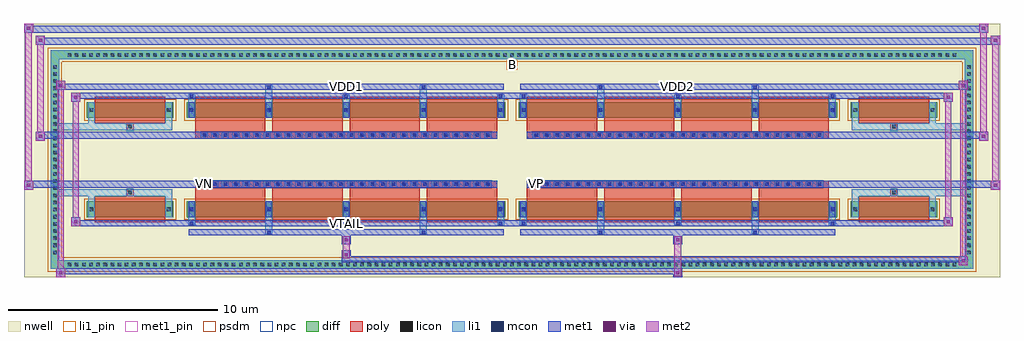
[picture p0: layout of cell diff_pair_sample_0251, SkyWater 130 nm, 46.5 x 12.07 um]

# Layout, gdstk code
import gdstk
lib = gdstk.Library(unit=1e-6, precision=5e-09)
def R(c, l, rs):  # rectangles x0, y0, x1, y1
    for r in rs: c.add(gdstk.rectangle(r[:2], r[2:], *l))
def A(c, l, x, y, w, h, nx, ny, dx, dy):  # array of equal rectangles
    R(c, l, [(x+i*dx, y+j*dy, x+i*dx+w, y+j*dy+h) for i in range(nx) for j in range(ny)])
def P(c, l, *ps):  # polygons
    for p in ps: c.add(gdstk.Polygon(p, *l))
nwell = (64, 20)
diff = (65, 20)
poly = (66, 20)
licon = (66, 44)
li1_pin = (67, 16)
li1 = (67, 20)
mcon = (67, 44)
met1_pin = (68, 16)
met1 = (68, 20)
via = (68, 44)
met2 = (69, 20)
psdm = (94, 20)
npc = (95, 20)

diff_pair_sample_0251 = lib.new_cell('diff_pair_sample_0251')
R(diff_pair_sample_0251, nwell, [(-23.25,-5.6,23.25,6.47), (-20.57,-3.79,-0.01,-0.805), (0.01,-3.79,20.57,-0.805), (-20.57,0.805,-0.01,3.79), (0.01,0.805,20.57,3.79)])
A(diff_pair_sample_0251, diff, -21.285, -5.2, 0.41, 0.41, 125, 2, 0.34, 9.99)
A(diff_pair_sample_0251, diff, -21.98, -4.625, 0.41, 0.41, 1, 27, 0, 0.34)
A(diff_pair_sample_0251, diff, 21.57, -4.625, 0.41, 0.41, 1, 27, 0, 0.34)
R(diff_pair_sample_0251, diff, [(-21.285,-5.2,21.285,-4.79), (-21.98,-4.625,-21.57,4.625), (21.57,-4.625,21.98,4.625), (-20.26,-2.745,-16.13,-1.985), (-15.49,-2.745,-0.32,-1.985), (0.32,-2.745,15.49,-1.985), (16.13,-2.745,20.26,-1.985), (-20.26,1.985,-16.13,2.745), (-15.49,1.985,-0.32,2.745), (0.32,1.985,15.49,2.745), (16.13,1.985,20.26,2.745), (-21.285,4.79,21.285,5.2)])
P(diff_pair_sample_0251, diff, [(21.98,5.2),(-21.98,5.2),(-21.98,-4.79),(-21.57,-4.79),(-21.57,4.79),(21.57,4.79),(21.57,-4.79),(-21.57,-4.79),(-21.98,-4.79),(-21.98,-5.2),(21.98,-5.2)])
A(diff_pair_sample_0251, poly, -15.1, -2.995, 3.35, 1.26, 4, 2, 3.68, 4.73)
A(diff_pair_sample_0251, poly, 0.71, -2.995, 3.35, 1.26, 4, 2, 3.68, 4.73)
A(diff_pair_sample_0251, poly, -15.1, -1.735, 3.35, 0.4, 4, 2, 3.68, 3.07)
A(diff_pair_sample_0251, poly, 0.71, -1.735, 3.35, 0.4, 4, 2, 3.68, 3.07)
A(diff_pair_sample_0251, poly, -14.82, -1.335, 0.33, 0.33, 28, 2, 0.5, 2.34)
A(diff_pair_sample_0251, poly, 0.99, -1.335, 0.33, 0.33, 28, 2, 0.5, 2.34)
R(diff_pair_sample_0251, poly, [(-19.87,-2.995,-16.52,-1.735), (16.52,-2.995,19.87,-1.735), (-18.36,-1.735,-18.03,-1.405), (-18.36,-1.735,-18.03,-1.405), (18.03,-1.735,18.36,-1.405), (18.03,-1.735,18.36,-1.405), (-15.1,-1.335,-0.71,-1.005), (0.71,-1.335,15.1,-1.005), (-15.1,1.005,-0.71,1.335), (0.71,1.005,15.1,1.335), (-18.36,1.405,-18.03,1.735), (-18.36,1.405,-18.03,1.735), (18.03,1.405,18.36,1.735), (18.03,1.405,18.36,1.735), (-19.87,1.735,-16.52,2.995), (16.52,1.735,19.87,2.995)])
A(diff_pair_sample_0251, licon, -21.165, -5.08, 0.17, 0.17, 125, 2, 0.34, 9.99)
A(diff_pair_sample_0251, licon, -21.86, -4.505, 0.17, 0.17, 1, 27, 0, 0.34)
A(diff_pair_sample_0251, licon, 21.69, -4.505, 0.17, 0.17, 1, 27, 0, 0.34)
A(diff_pair_sample_0251, licon, -15.35, -2.45, 0.17, 0.17, 5, 2, 3.68, 4.73)
A(diff_pair_sample_0251, licon, 0.46, -2.45, 0.17, 0.17, 5, 2, 3.68, 4.73)
A(diff_pair_sample_0251, licon, -14.74, -1.255, 0.17, 0.17, 28, 2, 0.5, 2.34)
A(diff_pair_sample_0251, licon, 1.07, -1.255, 0.17, 0.17, 28, 2, 0.5, 2.34)
R(diff_pair_sample_0251, licon, [(-20.12,-2.45,-19.95,-2.28), (-16.44,-2.45,-16.27,-2.28), (16.27,-2.45,16.44,-2.28), (19.95,-2.45,20.12,-2.28), (-18.28,-1.655,-18.11,-1.485), (18.11,-1.655,18.28,-1.485), (-18.28,1.485,-18.11,1.655), (18.11,1.485,18.28,1.655), (-20.12,2.28,-19.95,2.45), (-16.44,2.28,-16.27,2.45), (16.27,2.28,16.44,2.45), (19.95,2.28,20.12,2.45)])
R(diff_pair_sample_0251, li1_pin, [(-0.25,4.29,0.25,4.79)])
A(diff_pair_sample_0251, li1, -21.245, -5.16, 0.33, 0.33, 125, 2, 0.34, 9.99)
A(diff_pair_sample_0251, li1, -21.94, -4.585, 0.33, 0.33, 1, 27, 0, 0.34)
A(diff_pair_sample_0251, li1, 21.61, -4.585, 0.33, 0.33, 1, 27, 0, 0.34)
A(diff_pair_sample_0251, li1, -15.43, -3.12, 0.33, 0.375, 3, 2, 7.36, 5.865)
A(diff_pair_sample_0251, li1, -15.35, -3.12, 0.17, 0.17, 3, 2, 7.36, 6.07)
A(diff_pair_sample_0251, li1, 0.38, -3.12, 0.33, 0.375, 3, 2, 7.36, 5.865)
A(diff_pair_sample_0251, li1, 0.46, -3.12, 0.17, 0.17, 3, 2, 7.36, 6.07)
A(diff_pair_sample_0251, li1, -15.43, -2.745, 0.33, 0.76, 5, 2, 3.68, 4.73)
A(diff_pair_sample_0251, li1, 0.38, -2.745, 0.33, 0.76, 5, 2, 3.68, 4.73)
A(diff_pair_sample_0251, li1, -15.43, -2.53, 0.33, 0.33, 5, 2, 3.68, 4.73)
A(diff_pair_sample_0251, li1, 0.38, -2.53, 0.33, 0.33, 5, 2, 3.68, 4.73)
A(diff_pair_sample_0251, li1, -14.82, -1.335, 0.33, 0.33, 28, 2, 0.5, 2.34)
A(diff_pair_sample_0251, li1, 0.99, -1.335, 0.33, 0.33, 28, 2, 0.5, 2.34)
R(diff_pair_sample_0251, li1, [(-21.98,-5.2,-21.57,-4.79), (-21.98,-5.2,-21.57,-4.79), (-21.57,-5.2,21.57,-4.79), (21.57,-5.2,21.98,-4.79), (21.57,-5.2,21.98,-4.79), (-21.98,-4.79,-21.57,4.79), (21.57,-4.79,21.98,4.79), (-11.75,-3.55,-11.42,-2.745), (-11.67,-3.55,-11.5,-3.38), (-4.39,-3.55,-4.06,-2.745), (-4.31,-3.55,-4.14,-3.38), (4.06,-3.55,4.39,-2.745), (4.14,-3.55,4.31,-3.38), (11.42,-3.55,11.75,-2.745), (11.5,-3.55,11.67,-3.38), (-20.2,-2.745,-19.87,-1.985), (-16.52,-2.745,-16.19,-1.985), (16.19,-2.745,16.52,-1.985), (19.87,-2.745,20.2,-1.985), (-20.2,-2.53,-19.87,-2.2), (-16.52,-2.53,-16.19,-2.2), (16.19,-2.53,16.52,-2.2), (19.87,-2.53,20.2,-2.2), (-15.35,-2.45,-15.18,-2.28), (-15.35,-2.45,-15.18,-2.28), (-11.67,-2.45,-11.5,-2.28), (-11.67,-2.45,-11.5,-2.28), (-7.99,-2.45,-7.82,-2.28), (-7.99,-2.45,-7.82,-2.28), (-4.31,-2.45,-4.14,-2.28), (-4.31,-2.45,-4.14,-2.28), (-0.63,-2.45,-0.46,-2.28), (-0.63,-2.45,-0.46,-2.28), (0.46,-2.45,0.63,-2.28), (0.46,-2.45,0.63,-2.28), (4.14,-2.45,4.31,-2.28), (4.14,-2.45,4.31,-2.28), (7.82,-2.45,7.99,-2.28), (7.82,-2.45,7.99,-2.28), (11.5,-2.45,11.67,-2.28), (11.5,-2.45,11.67,-2.28), (15.18,-2.45,15.35,-2.28), (15.18,-2.45,15.35,-2.28), (-20.2,-1.985,-19.87,-1.405), (-16.52,-1.985,-16.19,-1.405), (16.19,-1.985,16.52,-1.405), (19.87,-1.985,20.2,-1.405), (-21.98,-1.735,-18.36,-1.405), (-20.2,-1.735,-18.36,-1.405), (-18.36,-1.735,-18.03,-1.405), (-18.03,-1.735,-16.19,-1.405), (16.19,-1.735,18.03,-1.405), (18.03,-1.735,18.36,-1.405), (18.03,-1.735,21.98,-1.405), (18.36,-1.735,20.2,-1.405), (-21.98,1.405,-18.36,1.735), (-20.2,1.405,-18.36,1.735), (-20.2,1.405,-19.87,1.985), (-18.36,1.405,-18.03,1.735), (-18.03,1.405,-16.19,1.735), (-16.52,1.405,-16.19,1.985), (16.19,1.405,18.03,1.735), (16.19,1.405,16.52,1.985), (18.03,1.405,18.36,1.735), (18.03,1.405,21.98,1.735), (18.36,1.405,20.2,1.735), (19.87,1.405,20.2,1.985), (-20.2,1.985,-19.87,2.745), (-16.52,1.985,-16.19,2.745), (16.19,1.985,16.52,2.745), (19.87,1.985,20.2,2.745), (-20.2,2.2,-19.87,2.53), (-16.52,2.2,-16.19,2.53), (16.19,2.2,16.52,2.53), (19.87,2.2,20.2,2.53), (-15.35,2.28,-15.18,2.45), (-15.35,2.28,-15.18,2.45), (-11.67,2.28,-11.5,2.45), (-11.67,2.28,-11.5,2.45), (-7.99,2.28,-7.82,2.45), (-7.99,2.28,-7.82,2.45), (-4.31,2.28,-4.14,2.45), (-4.31,2.28,-4.14,2.45), (-0.63,2.28,-0.46,2.45), (-0.63,2.28,-0.46,2.45), (0.46,2.28,0.63,2.45), (0.46,2.28,0.63,2.45), (4.14,2.28,4.31,2.45), (4.14,2.28,4.31,2.45), (7.82,2.28,7.99,2.45), (7.82,2.28,7.99,2.45), (11.5,2.28,11.67,2.45), (11.5,2.28,11.67,2.45), (15.18,2.28,15.35,2.45), (15.18,2.28,15.35,2.45), (-11.75,2.745,-11.42,3.55), (-4.39,2.745,-4.06,3.55), (4.06,2.745,4.39,3.55), (11.42,2.745,11.75,3.55), (-11.67,3.38,-11.5,3.55), (-4.31,3.38,-4.14,3.55), (4.14,3.38,4.31,3.55), (11.5,3.38,11.67,3.55), (-21.98,4.79,-21.57,5.2), (-21.98,4.79,-21.57,5.2), (-21.57,4.79,21.57,5.2), (21.57,4.79,21.98,5.2), (21.57,4.79,21.98,5.2)])
A(diff_pair_sample_0251, mcon, -15.35, -3.12, 0.17, 0.17, 3, 2, 7.36, 6.07)
A(diff_pair_sample_0251, mcon, 0.46, -3.12, 0.17, 0.17, 3, 2, 7.36, 6.07)
A(diff_pair_sample_0251, mcon, -15.35, -2.45, 0.17, 0.17, 5, 2, 3.68, 4.73)
A(diff_pair_sample_0251, mcon, 0.46, -2.45, 0.17, 0.17, 5, 2, 3.68, 4.73)
A(diff_pair_sample_0251, mcon, -14.74, -1.255, 0.17, 0.17, 28, 2, 0.5, 2.34)
A(diff_pair_sample_0251, mcon, 1.07, -1.255, 0.17, 0.17, 28, 2, 0.5, 2.34)
R(diff_pair_sample_0251, mcon, [(-11.67,-3.55,-11.5,-3.38), (-4.31,-3.55,-4.14,-3.38), (4.14,-3.55,4.31,-3.38), (11.5,-3.55,11.67,-3.38), (-11.67,3.38,-11.5,3.55), (-4.31,3.38,-4.14,3.55), (4.14,3.38,4.31,3.55), (11.5,3.38,11.67,3.55)])
R(diff_pair_sample_0251, met1_pin, [(-8.04,-3.16,-7.77,-2.89), (-14.79,-1.295,-14.52,-1.025), (1.02,-1.295,1.29,-1.025), (-8.04,3.34,-7.77,3.61), (7.77,3.34,8.04,3.61)])
A(diff_pair_sample_0251, met1, -15.41, -3.18, 0.29, 0.29, 3, 2, 7.36, 6.07)
A(diff_pair_sample_0251, met1, 0.4, -3.18, 0.29, 0.29, 3, 2, 7.36, 6.07)
A(diff_pair_sample_0251, met1, -15.41, -2.745, 0.29, 0.76, 5, 2, 3.68, 4.73)
A(diff_pair_sample_0251, met1, 0.4, -2.745, 0.29, 0.76, 5, 2, 3.68, 4.73)
A(diff_pair_sample_0251, met1, -15.41, -2.51, 0.29, 0.29, 5, 2, 3.68, 4.73)
A(diff_pair_sample_0251, met1, 0.4, -2.51, 0.29, 0.29, 5, 2, 3.68, 4.73)
A(diff_pair_sample_0251, met1, -14.8, -1.315, 0.29, 0.29, 28, 2, 0.5, 2.34)
A(diff_pair_sample_0251, met1, 1.01, -1.315, 0.29, 0.29, 28, 2, 0.5, 2.34)
R(diff_pair_sample_0251, met1, [(-21.71,-5.6,-21.28,-5.17), (7.69,-5.6,8.12,-5.17), (-21.71,-5.46,8.12,-5.17), (21.28,-5.03,21.71,-4.6), (-8.12,-4.89,21.71,-4.6), (-8.12,-4.75,-7.69,-4.32), (-8.12,-4.04,-7.69,-3.61), (7.69,-4.04,8.12,-3.61), (-15.41,-3.61,-0.4,-3.32), (-11.73,-3.61,-11.44,-3.32), (-4.37,-3.61,-4.08,-3.32), (0.4,-3.61,15.41,-3.32), (4.08,-3.61,4.37,-3.32), (11.44,-3.61,11.73,-3.32), (-21,-3.18,-20.57,-2.75), (-21,-3.18,-15.41,-2.89), (-15.41,-3.18,-0.4,-2.89), (-0.4,-3.18,0.4,-2.89), (0.4,-3.18,15.41,-2.89), (15.41,-3.18,21,-2.89), (20.57,-3.18,21,-2.75), (-23.25,-1.435,-22.82,-1.005), (22.82,-1.435,23.25,-1.005), (-23.25,-1.335,-0.71,-1.005), (-15.1,-1.335,-0.71,-1.005), (0.71,-1.335,15.1,-1.005), (0.71,-1.335,23.25,-1.005), (-22.68,0.905,-22.25,1.335), (22.25,0.905,22.68,1.335), (-22.68,1.005,-15.1,1.335), (-15.1,1.005,-0.71,1.335), (0.71,1.005,15.1,1.335), (15.1,1.005,22.68,1.335), (-21,2.75,-20.57,3.18), (20.57,2.75,21,3.18), (-21,2.89,-15.41,3.18), (-15.41,2.89,-0.4,3.18), (-0.4,2.89,0.4,3.18), (0.4,2.89,15.41,3.18), (15.41,2.89,21,3.18), (-21.71,3.32,-21.28,3.75), (-21.71,3.32,-15.41,3.61), (-15.41,3.32,-0.4,3.61), (-11.73,3.32,-11.44,3.61), (-4.37,3.32,-4.08,3.61), (0.4,3.32,15.41,3.61), (4.08,3.32,4.37,3.61), (11.44,3.32,11.73,3.61), (15.41,3.32,21.71,3.61), (21.28,3.32,21.71,3.75), (-22.68,5.47,-22.25,5.9), (-22.68,5.47,-20.57,5.8), (-20.57,5.47,20.57,5.8), (20.57,5.47,23.25,5.8), (22.82,5.47,23.25,5.9), (-23.25,6.04,-22.82,6.47), (-23.25,6.04,-20.57,6.37), (-20.57,6.04,20.57,6.37), (20.57,6.04,22.68,6.37), (22.25,6.04,22.68,6.47)])
R(diff_pair_sample_0251, via, [(-21.57,-5.46,-21.42,-5.31), (7.83,-5.46,7.98,-5.31), (21.42,-4.89,21.57,-4.74), (-7.98,-4.61,-7.83,-4.46), (-7.98,-3.9,-7.83,-3.75), (7.83,-3.9,7.98,-3.75), (-20.86,-3.04,-20.71,-2.89), (20.71,-3.04,20.86,-2.89), (-23.11,-1.295,-22.96,-1.145), (22.96,-1.295,23.11,-1.145), (-22.54,1.045,-22.39,1.195), (22.39,1.045,22.54,1.195), (-20.86,2.89,-20.71,3.04), (20.71,2.89,20.86,3.04), (-21.57,3.46,-21.42,3.61), (21.42,3.46,21.57,3.61), (-22.54,5.61,-22.39,5.76), (22.96,5.61,23.11,5.76), (-23.11,6.18,-22.96,6.33), (22.39,6.18,22.54,6.33)])
R(diff_pair_sample_0251, met2, [(-21.71,-5.6,-21.28,-5.17), (-21.64,-5.6,-21.35,3.75), (-21.35,-5.6,-21.28,-5.17), (-21.66,-5.55,-21.33,-5.22), (7.74,-5.55,8.07,-5.22), (7.74,-5.22,8.07,-3.99), (21.28,-5.03,21.71,-4.6), (21.35,-5.03,21.64,3.75), (21.64,-5.03,21.71,-4.6), (21.33,-4.98,21.66,-4.65), (-8.07,-4.7,-7.74,-4.37), (-8.07,-4.37,-7.74,-3.99), (-8.07,-3.99,-7.74,-3.66), (7.74,-3.99,8.07,-3.66), (-21,-3.18,-20.57,-2.75), (-20.93,-3.18,-20.64,3.18), (-20.64,-3.18,-20.57,-2.75), (20.57,-3.18,21,-2.75), (20.64,-3.18,20.93,3.18), (20.93,-3.18,21,-2.75), (-20.95,-3.13,-20.62,-2.8), (20.62,-3.13,20.95,-2.8), (-23.25,-1.435,-22.82,-1.005), (-23.2,-1.435,-22.87,6.47), (-22.87,-1.435,-22.82,-1.005), (22.82,-1.435,23.25,-1.005), (22.87,-1.435,23.2,5.9), (23.2,-1.435,23.25,-1.005), (-23.2,-1.385,-22.87,-1.055), (22.87,-1.385,23.2,-1.055), (-22.68,0.905,-22.25,1.335), (-22.63,0.905,-22.3,5.9), (-22.3,0.905,-22.25,1.335), (22.25,0.905,22.68,1.335), (22.3,0.905,22.63,6.47), (22.63,0.905,22.68,1.335), (-22.63,0.955,-22.3,1.285), (22.3,0.955,22.63,1.285), (-21,2.75,-20.57,3.18), (-20.64,2.75,-20.57,3.18), (20.57,2.75,21,3.18), (20.93,2.75,21,3.18), (-20.95,2.8,-20.62,3.13), (20.62,2.8,20.95,3.13), (-21.71,3.32,-21.28,3.75), (-21.35,3.32,-21.28,3.75), (21.28,3.32,21.71,3.75), (21.64,3.32,21.71,3.75), (-21.66,3.37,-21.33,3.7), (21.33,3.37,21.66,3.7), (-22.68,5.47,-22.25,5.9), (-22.3,5.47,-22.25,5.9), (22.82,5.47,23.25,5.9), (23.2,5.47,23.25,5.9), (-22.63,5.52,-22.3,5.85), (22.87,5.52,23.2,5.85), (-23.25,6.04,-22.82,6.47), (-22.87,6.04,-22.82,6.47), (22.25,6.04,22.68,6.47), (22.63,6.04,22.68,6.47), (-23.2,6.09,-22.87,6.42), (22.3,6.09,22.63,6.42)])
R(diff_pair_sample_0251, psdm, [(-20.39,-2.875,-16,-1.855), (-15.62,-2.875,-0.19,-1.855), (0.19,-2.875,15.62,-1.855), (16,-2.875,20.39,-1.855), (-20.39,1.855,-16,2.875), (-15.62,1.855,-0.19,2.875), (0.19,1.855,15.62,2.875), (16,1.855,20.39,2.875)])
P(diff_pair_sample_0251, psdm, [(22.11,5.33),(-22.11,5.33),(-22.11,-4.66),(-21.44,-4.66),(-21.44,4.66),(21.44,4.66),(21.44,-4.66),(-21.44,-4.66),(-22.11,-4.66),(-22.11,-5.33),(22.11,-5.33)])
A(diff_pair_sample_0251, npc, -14.84, -1.355, 0.37, 0.37, 28, 2, 0.5, 2.34)
A(diff_pair_sample_0251, npc, 0.97, -1.355, 0.37, 0.37, 28, 2, 0.5, 2.34)
R(diff_pair_sample_0251, npc, [(-18.38,-1.755,-18.01,-1.385), (18.01,-1.755,18.38,-1.385), (-14.84,-1.355,-13.97,-0.985), (-14.84,-1.355,-13.97,-0.985), (-14.34,-1.355,-13.47,-0.985), (-14.34,-1.355,-13.47,-0.985), (-13.84,-1.355,-12.97,-0.985), (-13.84,-1.355,-12.97,-0.985), (-13.34,-1.355,-12.47,-0.985), (-13.34,-1.355,-12.47,-0.985), (-12.84,-1.355,-11.97,-0.985), (-12.84,-1.355,-11.97,-0.985), (-12.34,-1.355,-11.47,-0.985), (-12.34,-1.355,-11.47,-0.985), (-11.84,-1.355,-10.97,-0.985), (-11.84,-1.355,-10.97,-0.985), (-11.34,-1.355,-10.47,-0.985), (-11.34,-1.355,-10.47,-0.985), (-10.84,-1.355,-9.97,-0.985), (-10.84,-1.355,-9.97,-0.985), (-10.34,-1.355,-9.47,-0.985), (-10.34,-1.355,-9.47,-0.985), (-9.84,-1.355,-8.97,-0.985), (-9.84,-1.355,-8.97,-0.985), (-9.34,-1.355,-8.47,-0.985), (-9.34,-1.355,-8.47,-0.985), (-8.84,-1.355,-7.97,-0.985), (-8.84,-1.355,-7.97,-0.985), (-8.34,-1.355,-7.47,-0.985), (-8.34,-1.355,-7.47,-0.985), (-7.84,-1.355,-6.97,-0.985), (-7.84,-1.355,-6.97,-0.985), (-7.34,-1.355,-6.47,-0.985), (-7.34,-1.355,-6.47,-0.985), (-6.84,-1.355,-5.97,-0.985), (-6.84,-1.355,-5.97,-0.985), (-6.34,-1.355,-5.47,-0.985), (-6.34,-1.355,-5.47,-0.985), (-5.84,-1.355,-4.97,-0.985), (-5.84,-1.355,-4.97,-0.985), (-5.34,-1.355,-4.47,-0.985), (-5.34,-1.355,-4.47,-0.985), (-4.84,-1.355,-3.97,-0.985), (-4.84,-1.355,-3.97,-0.985), (-4.34,-1.355,-3.47,-0.985), (-4.34,-1.355,-3.47,-0.985), (-3.84,-1.355,-2.97,-0.985), (-3.84,-1.355,-2.97,-0.985), (-3.34,-1.355,-2.47,-0.985), (-3.34,-1.355,-2.47,-0.985), (-2.84,-1.355,-1.97,-0.985), (-2.84,-1.355,-1.97,-0.985), (-2.34,-1.355,-1.47,-0.985), (-2.34,-1.355,-1.47,-0.985), (-1.84,-1.355,-0.97,-0.985), (-1.84,-1.355,-0.97,-0.985), (0.97,-1.355,1.84,-0.985), (0.97,-1.355,1.84,-0.985), (1.47,-1.355,2.34,-0.985), (1.47,-1.355,2.34,-0.985), (1.97,-1.355,2.84,-0.985), (1.97,-1.355,2.84,-0.985), (2.47,-1.355,3.34,-0.985), (2.47,-1.355,3.34,-0.985), (2.97,-1.355,3.84,-0.985), (2.97,-1.355,3.84,-0.985), (3.47,-1.355,4.34,-0.985), (3.47,-1.355,4.34,-0.985), (3.97,-1.355,4.84,-0.985), (3.97,-1.355,4.84,-0.985), (4.47,-1.355,5.34,-0.985), (4.47,-1.355,5.34,-0.985), (4.97,-1.355,5.84,-0.985), (4.97,-1.355,5.84,-0.985), (5.47,-1.355,6.34,-0.985), (5.47,-1.355,6.34,-0.985), (5.97,-1.355,6.84,-0.985), (5.97,-1.355,6.84,-0.985), (6.47,-1.355,7.34,-0.985), (6.47,-1.355,7.34,-0.985), (6.97,-1.355,7.84,-0.985), (6.97,-1.355,7.84,-0.985), (7.47,-1.355,8.34,-0.985), (7.47,-1.355,8.34,-0.985), (7.97,-1.355,8.84,-0.985), (7.97,-1.355,8.84,-0.985), (8.47,-1.355,9.34,-0.985), (8.47,-1.355,9.34,-0.985), (8.97,-1.355,9.84,-0.985), (8.97,-1.355,9.84,-0.985), (9.47,-1.355,10.34,-0.985), (9.47,-1.355,10.34,-0.985), (9.97,-1.355,10.84,-0.985), (9.97,-1.355,10.84,-0.985), (10.47,-1.355,11.34,-0.985), (10.47,-1.355,11.34,-0.985), (10.97,-1.355,11.84,-0.985), (10.97,-1.355,11.84,-0.985), (11.47,-1.355,12.34,-0.985), (11.47,-1.355,12.34,-0.985), (11.97,-1.355,12.84,-0.985), (11.97,-1.355,12.84,-0.985), (12.47,-1.355,13.34,-0.985), (12.47,-1.355,13.34,-0.985), (12.97,-1.355,13.84,-0.985), (12.97,-1.355,13.84,-0.985), (13.47,-1.355,14.34,-0.985), (13.47,-1.355,14.34,-0.985), (13.97,-1.355,14.84,-0.985), (13.97,-1.355,14.84,-0.985), (-14.84,0.985,-13.97,1.355), (-14.84,0.985,-13.97,1.355), (-14.34,0.985,-13.47,1.355), (-14.34,0.985,-13.47,1.355), (-13.84,0.985,-12.97,1.355), (-13.84,0.985,-12.97,1.355), (-13.34,0.985,-12.47,1.355), (-13.34,0.985,-12.47,1.355), (-12.84,0.985,-11.97,1.355), (-12.84,0.985,-11.97,1.355), (-12.34,0.985,-11.47,1.355), (-12.34,0.985,-11.47,1.355), (-11.84,0.985,-10.97,1.355), (-11.84,0.985,-10.97,1.355), (-11.34,0.985,-10.47,1.355), (-11.34,0.985,-10.47,1.355), (-10.84,0.985,-9.97,1.355), (-10.84,0.985,-9.97,1.355), (-10.34,0.985,-9.47,1.355), (-10.34,0.985,-9.47,1.355), (-9.84,0.985,-8.97,1.355), (-9.84,0.985,-8.97,1.355), (-9.34,0.985,-8.47,1.355), (-9.34,0.985,-8.47,1.355), (-8.84,0.985,-7.97,1.355), (-8.84,0.985,-7.97,1.355), (-8.34,0.985,-7.47,1.355), (-8.34,0.985,-7.47,1.355), (-7.84,0.985,-6.97,1.355), (-7.84,0.985,-6.97,1.355), (-7.34,0.985,-6.47,1.355), (-7.34,0.985,-6.47,1.355), (-6.84,0.985,-5.97,1.355), (-6.84,0.985,-5.97,1.355), (-6.34,0.985,-5.47,1.355), (-6.34,0.985,-5.47,1.355), (-5.84,0.985,-4.97,1.355), (-5.84,0.985,-4.97,1.355), (-5.34,0.985,-4.47,1.355), (-5.34,0.985,-4.47,1.355), (-4.84,0.985,-3.97,1.355), (-4.84,0.985,-3.97,1.355), (-4.34,0.985,-3.47,1.355), (-4.34,0.985,-3.47,1.355), (-3.84,0.985,-2.97,1.355), (-3.84,0.985,-2.97,1.355), (-3.34,0.985,-2.47,1.355), (-3.34,0.985,-2.47,1.355), (-2.84,0.985,-1.97,1.355), (-2.84,0.985,-1.97,1.355), (-2.34,0.985,-1.47,1.355), (-2.34,0.985,-1.47,1.355), (-1.84,0.985,-0.97,1.355), (-1.84,0.985,-0.97,1.355), (0.97,0.985,1.84,1.355), (0.97,0.985,1.84,1.355), (1.47,0.985,2.34,1.355), (1.47,0.985,2.34,1.355), (1.97,0.985,2.84,1.355), (1.97,0.985,2.84,1.355), (2.47,0.985,3.34,1.355), (2.47,0.985,3.34,1.355), (2.97,0.985,3.84,1.355), (2.97,0.985,3.84,1.355), (3.47,0.985,4.34,1.355), (3.47,0.985,4.34,1.355), (3.97,0.985,4.84,1.355), (3.97,0.985,4.84,1.355), (4.47,0.985,5.34,1.355), (4.47,0.985,5.34,1.355), (4.97,0.985,5.84,1.355), (4.97,0.985,5.84,1.355), (5.47,0.985,6.34,1.355), (5.47,0.985,6.34,1.355), (5.97,0.985,6.84,1.355), (5.97,0.985,6.84,1.355), (6.47,0.985,7.34,1.355), (6.47,0.985,7.34,1.355), (6.97,0.985,7.84,1.355), (6.97,0.985,7.84,1.355), (7.47,0.985,8.34,1.355), (7.47,0.985,8.34,1.355), (7.97,0.985,8.84,1.355), (7.97,0.985,8.84,1.355), (8.47,0.985,9.34,1.355), (8.47,0.985,9.34,1.355), (8.97,0.985,9.84,1.355), (8.97,0.985,9.84,1.355), (9.47,0.985,10.34,1.355), (9.47,0.985,10.34,1.355), (9.97,0.985,10.84,1.355), (9.97,0.985,10.84,1.355), (10.47,0.985,11.34,1.355), (10.47,0.985,11.34,1.355), (10.97,0.985,11.84,1.355), (10.97,0.985,11.84,1.355), (11.47,0.985,12.34,1.355), (11.47,0.985,12.34,1.355), (11.97,0.985,12.84,1.355), (11.97,0.985,12.84,1.355), (12.47,0.985,13.34,1.355), (12.47,0.985,13.34,1.355), (12.97,0.985,13.84,1.355), (12.97,0.985,13.84,1.355), (13.47,0.985,14.34,1.355), (13.47,0.985,14.34,1.355), (13.97,0.985,14.84,1.355), (13.97,0.985,14.84,1.355), (-18.38,1.385,-18.01,1.755), (18.01,1.385,18.38,1.755)])
diff_pair_sample_0251.add(gdstk.Label('VTAIL', (-7.905,-3.025), layer=68, texttype=5))
diff_pair_sample_0251.add(gdstk.Label('VN', (-14.655,-1.16), layer=68, texttype=5))
diff_pair_sample_0251.add(gdstk.Label('VP', (1.155,-1.16), layer=68, texttype=5))
diff_pair_sample_0251.add(gdstk.Label('B', (0,4.54), layer=67, texttype=5))
diff_pair_sample_0251.add(gdstk.Label('VDD2', (7.905,3.475), layer=68, texttype=5))
diff_pair_sample_0251.add(gdstk.Label('VDD1', (-7.905,3.475), layer=68, texttype=5))

lib.write_gds('diff_pair_sample_0251.gds')
